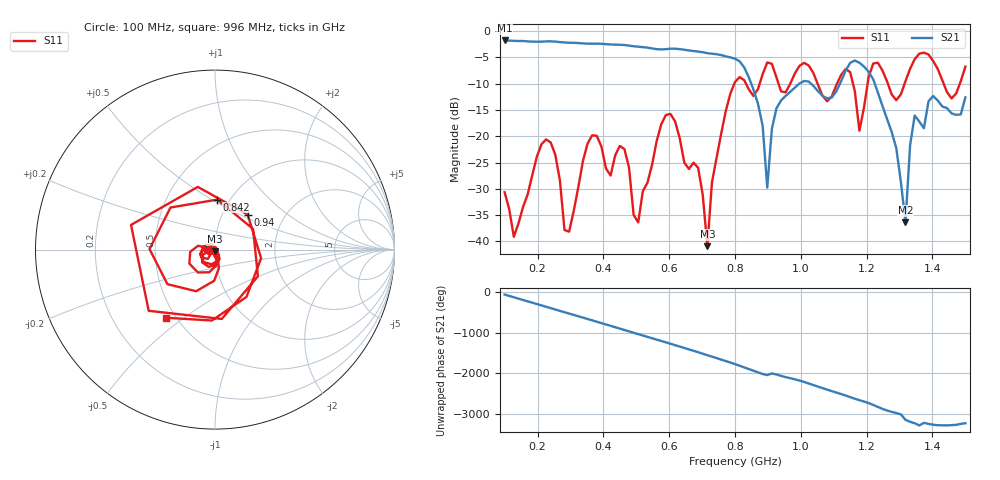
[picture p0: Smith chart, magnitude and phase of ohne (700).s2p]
! NanoVNA-App
! Date: 2025-09-25 14:26:15
! Start: 100MHz Stop: 1,5GHz Points: 101
! S-Parameter data: F S11 S21 S12 S22
# Hz S RI R 50
!  Frequency  S11_Real  S11_Imag  S21_Real  S21_Imag  S12_Real  S12_Imag  S22_Real  S22_Imag
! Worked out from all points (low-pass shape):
!   101 points, 100 MHz to 1.5 GHz, reference 50 ohm
!   highest |S21| = -1.79 dB at 100 MHz (marker M1); lowest = -36.4 dB at 1.318 GHz (marker M2)
!   |S21| within 3 dB of the highest: start of sweep to 771.4 MHz
!   lowest |S11| = -40.9 dB at 716 MHz (marker M3), VSWR 1.02, Z = 49.8 - j0.887 ohm
!   |S11| at or under -10 dB: start of sweep to 798 MHz; 833.3 MHz to 875.1 MHz (41.78 MHz wide, 4.89 % of centre); 1.051 GHz to 1.11 GHz (59.21 MHz wide, 5.48 % of centre)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
!   S12 and S22 are empty: the file has one direction only
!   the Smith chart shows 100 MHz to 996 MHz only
!   S11 on the Smith chart (normalised r, x): 100 MHz: 0.94, -0.01; 842 MHz: 0.88, +0.53; 940 MHz: 1.31, +0.55; 996 MHz: 0.44, -0.43
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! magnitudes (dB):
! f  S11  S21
! 100 MHz  -30.6  -1.8
! 128 MHz  -39.1  -1.9
! 226 MHz  -20.6  -2.0
! 296 MHz  -38.1  -2.2
! 338 MHz  -24.7  -2.4
! 464 MHz  -22.4  -2.7
! 506 MHz  -36.4  -3.0
! 576 MHz  -17.7  -3.5
! 688 MHz  -26.0  -3.9
! 716 MHz  -40.9  -4.2
! 800 MHz  -9.7  -5.3
! 842 MHz  -11.1  -8.8
! 898 MHz  -6.0  -29.8
! 940 MHz  -11.5  -13.2
! 996 MHz  -6.6  -10.0
! 1.038 GHz  -8.0  -10.4
! 1.178 GHz  -18.9  -6.0
! 1.22 GHz  -6.2  -9.2
! 1.276 GHz  -12.1  -19.2
! 1.318 GHz  -9.5  -36.4
! 1.346 GHz  -5.4  -16.1
! 1.5 GHz  -6.8  -12.6
